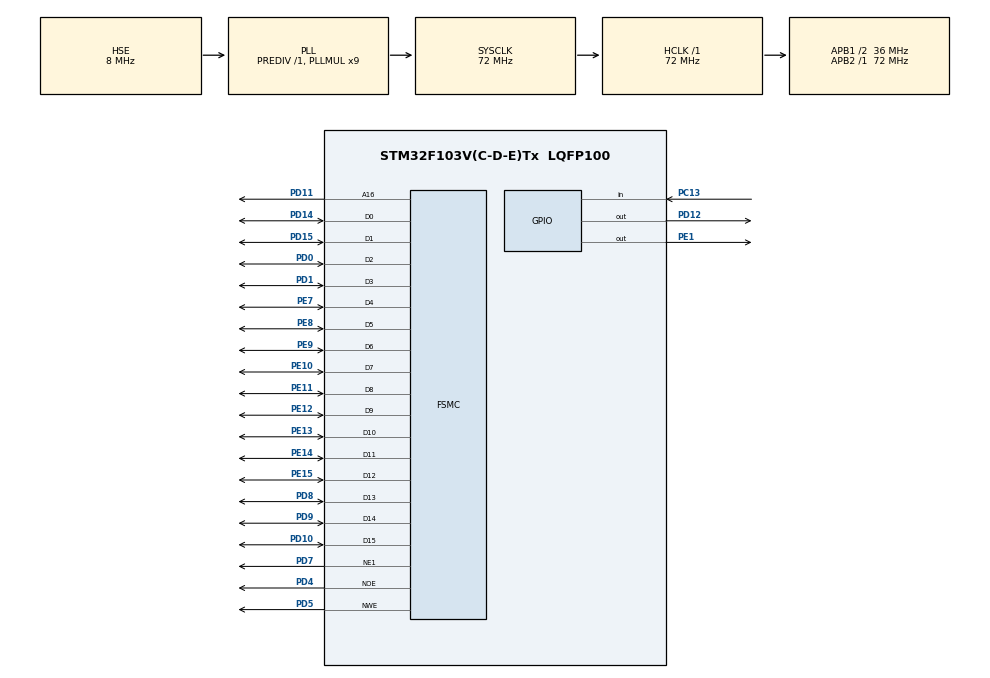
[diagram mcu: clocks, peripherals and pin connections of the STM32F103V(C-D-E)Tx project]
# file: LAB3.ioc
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Mcu.Family=STM32F1
Mcu.Name=STM32F103V(C-D-E)Tx
Mcu.Package=LQFP100
NVIC.PriorityGroup=NVIC_PRIORITYGROUP_4
OSC_IN.Mode=HSE-External-Oscillator
OSC_IN.Signal=RCC_OSC_IN
OSC_OUT.Mode=HSE-External-Oscillator
OSC_OUT.Signal=RCC_OSC_OUT
PA13.Mode=Serial_Wire
PA13.Signal=SYS_JTMS-SWDIO
PA14.Mode=Serial_Wire
PA14.Signal=SYS_JTCK-SWCLK
PC13-TAMPER-RTC.Signal=GPIO_Input
PC14-OSC32_IN.Mode=LSE-External-Oscillator
PC14-OSC32_IN.Signal=RCC_OSC32_IN
PC15-OSC32_OUT.Mode=LSE-External-Oscillator
PC15-OSC32_OUT.Signal=RCC_OSC32_OUT
PD0.Mode=16b-d1
PD0.Signal=FSMC_D2
PD1.Mode=16b-d1
PD1.Signal=FSMC_D3
PD10.Mode=16b-d1
PD10.Signal=FSMC_D15
PD11.Mode=A16_1
PD11.Signal=FSMC_A16
PD12.GPIO_Speed=GPIO_SPEED_FREQ_HIGH
PD12.Signal=GPIO_Output
PD14.Mode=16b-d1
PD14.Signal=FSMC_D0
PD15.Mode=16b-d1
PD15.Signal=FSMC_D1
PD4.Mode=Lcd1
PD4.Signal=FSMC_NOE
PD5.Mode=Lcd1
PD5.Signal=FSMC_NWE
PD7.Mode=NorPsramChipSelect1_1
PD7.Signal=FSMC_NE1
PD8.Mode=16b-d1
PD8.Signal=FSMC_D13
PD9.Mode=16b-d1
PD9.Signal=FSMC_D14
PE1.GPIO_Speed=GPIO_SPEED_FREQ_HIGH
PE1.Signal=GPIO_Output
PE10.Mode=16b-d1
PE10.Signal=FSMC_D7
PE11.Mode=16b-d1
PE11.Signal=FSMC_D8
PE12.Mode=16b-d1
PE12.Signal=FSMC_D9
PE13.Mode=16b-d1
PE13.Signal=FSMC_D10
PE14.Mode=16b-d1
PE14.Signal=FSMC_D11
PE15.Mode=16b-d1
PE15.Signal=FSMC_D12
PE7.Mode=16b-d1
PE7.Signal=FSMC_D4
PE8.Mode=16b-d1
PE8.Signal=FSMC_D5
PE9.Mode=16b-d1
PE9.Signal=FSMC_D6
ProjectManager.HeapSize=0x200
ProjectManager.StackSize=0x400
ProjectManager.TargetToolchain=STM32CubeIDE
RCC.AHBFreq_Value=72000000
RCC.APB1CLKDivider=RCC_HCLK_DIV2
RCC.APB1Freq_Value=36000000
RCC.APB1TimFreq_Value=72000000
RCC.APB2Freq_Value=72000000
RCC.APB2TimFreq_Value=72000000
RCC.HCLKFreq_Value=72000000
RCC.PLLMUL=RCC_PLL_MUL9
RCC.PLLSourceVirtual=RCC_PLLSOURCE_HSE
RCC.SYSCLKFreq_VALUE=72000000
RCC.SYSCLKSource=RCC_SYSCLKSOURCE_PLLCLK
RCC.USBFreq_Value=72000000
board=custom

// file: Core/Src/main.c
/* USER CODE BEGIN Header */
/**
  ******************************************************************************
  * @file           : main.c
  * @brief          : Main program body
  ******************************************************************************
  * @attention
  *
  * Copyright (c) 2022 STMicroelectronics.
  * All rights reserved.
  *
  * This software is licensed under terms that can be found in the LICENSE file
  * in the root directory of this software component.
  * If no LICENSE file comes with this software, it is provided AS-IS.
  *
  ******************************************************************************
  */
/* USER CODE END Header */
#include "main.h"

/* USER CODE BEGIN Includes */
#include "lcd.h"
/* USER CODE END Includes */

SRAM_HandleTypeDef hsram1;

void SystemClock_Config(void);
static void MX_GPIO_Init(void);
static void MX_FSMC_Init(void);

int main(void)
{

  /* MCU Configuration--------------------------------------------------------*/

  /* Reset of all peripherals, Initializes the Flash interface and the Systick. */
  HAL_Init();

  /* Configure the system clock */
  SystemClock_Config();

  /* Initialize all configured peripherals */
  MX_GPIO_Init();
  MX_FSMC_Init();
  /* USER CODE BEGIN 2 */
  LCD_INIT();
  /* USER CODE END 2 */

  /* Infinite loop */
  /* USER CODE BEGIN WHILE */
  uint32_t last_tick = HAL_GetTick();
  uint32_t prev_SR = 0, prev_LR = 0;
  uint32_t now_SR = 0, now_LR = 0;
  uint8_t screen_state = 0;
  uint8_t btn_k2_pressed = 0;
  /**
   * screen_state
   * 0 = normal
   * 1 = name
   * 2 = image
   */
  while (1)
  {
  //	  LCD_Clear(0, 0, 240, 320, BACKGROUND);
  //	  if (HAL_GetTick() - last_tick > 1000) {
  //		  last_tick = HAL_GetTick();
  //	  }

	  if (HAL_GPIO_ReadPin(GPIOC, GPIO_PIN_13) == GPIO_PIN_SET) {
		  if (!btn_k2_pressed) {
			  btn_k2_pressed = 1;
			  screen_state = (screen_state + 1) % 3;
			  LCD_Clear(0, 0, 240, 320, BACKGROUND);
			  if (screen_state == 2)
				  	 LCD_PrintImage();
		  }
	  } else {
		  btn_k2_pressed = 0;
	  }

	  prev_SR = now_SR;
	  prev_LR = now_LR;
	  now_SR = 50;
	  now_LR = (uint32_t) 25 * (1 + sin((HAL_GetTick() / 500.0f) * 2 * 3.1415926f));

	  switch (screen_state) {
	  case 0:
		  LCD_DrawString(100, 100, "Hartanto Kwee Jeffrey is very fat and disgusting. This is very very interesting.");
		  LCD_DrawEllipse(120, 200, now_SR, now_LR, RED);
		  LCD_DrawEllipse(120, 200, prev_SR, prev_LR, BACKGROUND);
		  break;
	  case 1:
		  LCD_WriteName(0, 0);
		  break;
	  default: break;
	  }

  //	  now_LR = 100;
  //	  LCD_DrawEllipse(100, 200, prev_SR, prev_LR, BACKGROUND);
  //	  LCD_Clear(120 - prev_LR, 200 - prev_SR, prev_LR * 2, prev_SR *2, BACKGROUND);

  //	  HAL_Delay(10);
    /* USER CODE END WHILE */

  }
}

void SystemClock_Config(void)
{
  RCC_OscInitTypeDef RCC_OscInitStruct = {0};
  RCC_ClkInitTypeDef RCC_ClkInitStruct = {0};

  /** Initializes the RCC Oscillators according to the specified parameters
  * in the RCC_OscInitTypeDef structure.
  */
  RCC_OscInitStruct.OscillatorType = RCC_OSCILLATORTYPE_HSE;
  RCC_OscInitStruct.HSEState = RCC_HSE_ON;
  RCC_OscInitStruct.HSEPredivValue = RCC_HSE_PREDIV_DIV1;
  RCC_OscInitStruct.HSIState = RCC_HSI_ON;
  RCC_OscInitStruct.PLL.PLLState = RCC_PLL_ON;
  RCC_OscInitStruct.PLL.PLLSource = RCC_PLLSOURCE_HSE;
  RCC_OscInitStruct.PLL.PLLMUL = RCC_PLL_MUL9;
  if (HAL_RCC_OscConfig(&RCC_OscInitStruct) != HAL_OK)
  {
    Error_Handler();
  }

  /** Initializes the CPU, AHB and APB buses clocks
  */
  RCC_ClkInitStruct.ClockType = RCC_CLOCKTYPE_HCLK|RCC_CLOCKTYPE_SYSCLK
                              |RCC_CLOCKTYPE_PCLK1|RCC_CLOCKTYPE_PCLK2;
  RCC_ClkInitStruct.SYSCLKSource = RCC_SYSCLKSOURCE_PLLCLK;
  RCC_ClkInitStruct.AHBCLKDivider = RCC_SYSCLK_DIV1;
  RCC_ClkInitStruct.APB1CLKDivider = RCC_HCLK_DIV2;
  RCC_ClkInitStruct.APB2CLKDivider = RCC_HCLK_DIV1;

  if (HAL_RCC_ClockConfig(&RCC_ClkInitStruct, FLASH_LATENCY_2) != HAL_OK)
  {
    Error_Handler();
  }
}

static void MX_GPIO_Init(void)
{
  GPIO_InitTypeDef GPIO_InitStruct = {0};

  /* GPIO Ports Clock Enable */
  __HAL_RCC_GPIOC_CLK_ENABLE();
  __HAL_RCC_GPIOE_CLK_ENABLE();
  __HAL_RCC_GPIOD_CLK_ENABLE();
  __HAL_RCC_GPIOA_CLK_ENABLE();

  /*Configure GPIO pin Output Level */
  HAL_GPIO_WritePin(GPIOD, GPIO_PIN_12, GPIO_PIN_RESET);

  /*Configure GPIO pin Output Level */
  HAL_GPIO_WritePin(GPIOE, GPIO_PIN_1, GPIO_PIN_RESET);

  /*Configure GPIO pin : PC13 */
  GPIO_InitStruct.Pin = GPIO_PIN_13;
  GPIO_InitStruct.Mode = GPIO_MODE_INPUT;
  GPIO_InitStruct.Pull = GPIO_NOPULL;
  HAL_GPIO_Init(GPIOC, &GPIO_InitStruct);

  /*Configure GPIO pin : PD12 */
  GPIO_InitStruct.Pin = GPIO_PIN_12;
  GPIO_InitStruct.Mode = GPIO_MODE_OUTPUT_PP;
  GPIO_InitStruct.Pull = GPIO_NOPULL;
  GPIO_InitStruct.Speed = GPIO_SPEED_FREQ_HIGH;
  HAL_GPIO_Init(GPIOD, &GPIO_InitStruct);

  /*Configure GPIO pin : PE1 */
  GPIO_InitStruct.Pin = GPIO_PIN_1;
  GPIO_InitStruct.Mode = GPIO_MODE_OUTPUT_PP;
  GPIO_InitStruct.Pull = GPIO_NOPULL;
  GPIO_InitStruct.Speed = GPIO_SPEED_FREQ_HIGH;
  HAL_GPIO_Init(GPIOE, &GPIO_InitStruct);

}

/* FSMC initialization function */
static void MX_FSMC_Init(void)
{

  FSMC_NORSRAM_TimingTypeDef Timing = {0};

  /** Perform the SRAM1 memory initialization sequence
  */
  hsram1.Instance = FSMC_NORSRAM_DEVICE;
  hsram1.Extended = FSMC_NORSRAM_EXTENDED_DEVICE;
  /* hsram1.Init */
  hsram1.Init.NSBank = FSMC_NORSRAM_BANK1;
  hsram1.Init.DataAddressMux = FSMC_DATA_ADDRESS_MUX_DISABLE;
  hsram1.Init.MemoryType = FSMC_MEMORY_TYPE_SRAM;
  hsram1.Init.MemoryDataWidth = FSMC_NORSRAM_MEM_BUS_WIDTH_16;
  hsram1.Init.BurstAccessMode = FSMC_BURST_ACCESS_MODE_DISABLE;
  hsram1.Init.WaitSignalPolarity = FSMC_WAIT_SIGNAL_POLARITY_LOW;
  hsram1.Init.WrapMode = FSMC_WRAP_MODE_DISABLE;
  hsram1.Init.WaitSignalActive = FSMC_WAIT_TIMING_BEFORE_WS;
  hsram1.Init.WriteOperation = FSMC_WRITE_OPERATION_ENABLE;
  hsram1.Init.WaitSignal = FSMC_WAIT_SIGNAL_DISABLE;
  hsram1.Init.ExtendedMode = FSMC_EXTENDED_MODE_DISABLE;
  hsram1.Init.AsynchronousWait = FSMC_ASYNCHRONOUS_WAIT_DISABLE;
  hsram1.Init.WriteBurst = FSMC_WRITE_BURST_DISABLE;
  /* Timing */
  Timing.AddressSetupTime = 15;
  Timing.AddressHoldTime = 15;
  Timing.DataSetupTime = 255;
  Timing.BusTurnAroundDuration = 15;
  Timing.CLKDivision = 16;
  Timing.DataLatency = 17;
  Timing.AccessMode = FSMC_ACCESS_MODE_A;
  /* ExtTiming */

  if (HAL_SRAM_Init(&hsram1, &Timing, NULL) != HAL_OK)
  {
    Error_Handler( );
  }

  /** Disconnect NADV
  */

  __HAL_AFIO_FSMCNADV_DISCONNECTED();

}

void Error_Handler(void)
{
  __disable_irq();
  while (1)
  {
  }
}
